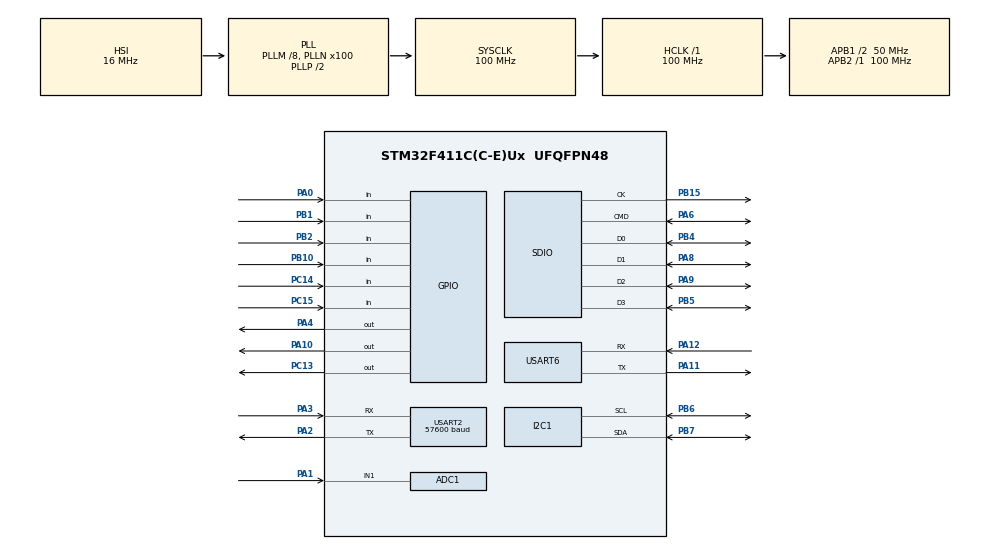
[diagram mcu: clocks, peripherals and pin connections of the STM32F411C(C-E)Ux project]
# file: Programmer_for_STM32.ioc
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ADC1.Channel-0\#ChannelRegularConversion=ADC_CHANNEL_1
ADC1.ClockPrescaler=ADC_CLOCK_SYNC_PCLK_DIV8
ADC1.EnableAnalogWatchDog=false
ADC1.ExternalTrigConv=ADC_EXTERNALTRIGCONV_T2_TRGO
ADC1.ExternalTrigConvEdge=ADC_EXTERNALTRIGCONVEDGE_RISING
ADC1.NbrOfConversionFlag=1
ADC1.Rank-0\#ChannelRegularConversion=1
ADC1.SamplingTime-0\#ChannelRegularConversion=ADC_SAMPLETIME_84CYCLES
ADC1.master=1
Dma.Request0=SDIO_RX
Dma.Request1=SDIO_TX
Dma.Request2=USART6_RX
Dma.SDIO_RX.0.Direction=DMA_PERIPH_TO_MEMORY
Dma.SDIO_RX.0.FIFOMode=DMA_FIFOMODE_ENABLE
Dma.SDIO_RX.0.FIFOThreshold=DMA_FIFO_THRESHOLD_FULL
Dma.SDIO_RX.0.Instance=DMA2_Stream3
Dma.SDIO_RX.0.MemBurst=DMA_MBURST_INC4
Dma.SDIO_RX.0.MemDataAlignment=DMA_MDATAALIGN_WORD
Dma.SDIO_RX.0.MemInc=DMA_MINC_ENABLE
Dma.SDIO_RX.0.Mode=DMA_PFCTRL
Dma.SDIO_RX.0.PeriphBurst=DMA_PBURST_INC4
Dma.SDIO_RX.0.PeriphDataAlignment=DMA_PDATAALIGN_WORD
Dma.SDIO_RX.0.PeriphInc=DMA_PINC_DISABLE
Dma.SDIO_RX.0.Priority=DMA_PRIORITY_HIGH
Dma.SDIO_TX.1.Direction=DMA_MEMORY_TO_PERIPH
Dma.SDIO_TX.1.FIFOMode=DMA_FIFOMODE_ENABLE
Dma.SDIO_TX.1.FIFOThreshold=DMA_FIFO_THRESHOLD_FULL
Dma.SDIO_TX.1.Instance=DMA2_Stream6
Dma.SDIO_TX.1.MemBurst=DMA_MBURST_INC4
Dma.SDIO_TX.1.MemDataAlignment=DMA_MDATAALIGN_WORD
Dma.SDIO_TX.1.MemInc=DMA_MINC_ENABLE
Dma.SDIO_TX.1.Mode=DMA_PFCTRL
Dma.SDIO_TX.1.PeriphBurst=DMA_PBURST_INC4
Dma.SDIO_TX.1.PeriphDataAlignment=DMA_PDATAALIGN_WORD
Dma.SDIO_TX.1.PeriphInc=DMA_PINC_DISABLE
Dma.SDIO_TX.1.Priority=DMA_PRIORITY_HIGH
Dma.USART6_RX.2.Direction=DMA_PERIPH_TO_MEMORY
Dma.USART6_RX.2.FIFOMode=DMA_FIFOMODE_DISABLE
Dma.USART6_RX.2.Instance=DMA2_Stream1
Dma.USART6_RX.2.MemDataAlignment=DMA_MDATAALIGN_BYTE
Dma.USART6_RX.2.MemInc=DMA_MINC_ENABLE
Dma.USART6_RX.2.Mode=DMA_CIRCULAR
Dma.USART6_RX.2.PeriphDataAlignment=DMA_PDATAALIGN_BYTE
Dma.USART6_RX.2.PeriphInc=DMA_PINC_DISABLE
Dma.USART6_RX.2.Priority=DMA_PRIORITY_VERY_HIGH
FATFS._FS_RPATH=2
FATFS._MAX_SS=4096
FATFS._USE_LFN=3
FREERTOS.BinarySemaphores01=semRingBuf,Dynamic,NULL
FREERTOS.Queues01=buttonsQueue,8,uint8_t,0,Dynamic,NULL,NULL
FREERTOS.Tasks01=defaultTask,0,384,StartDefaultTask,Default,NULL,Dynamic,NULL,NULL;keyboardTask,0,128,keyboardFunc,Default,NULL,Dynamic,NULL,NULL;displayTask,-1,256,displayFunc,Default,NULL,Dynamic,NULL,NULL;ringBufferTask,2,256,ringBufferFunc,Default,NULL,Dynamic,NULL,NULL
FREERTOS.configTOTAL_HEAP_SIZE=0x1770
FREERTOS.configUSE_STATS_FORMATTING_FUNCTIONS=1
FREERTOS.configUSE_TRACE_FACILITY=1
Mcu.Family=STM32F4
Mcu.Name=STM32F411C(C-E)Ux
Mcu.Package=UFQFPN48
NVIC.ADC_IRQn=true\:5\:0\:false\:false\:true\:true\:true\:true
NVIC.DMA2_Stream1_IRQn=true\:5\:0\:false\:false\:true\:true\:false\:true
NVIC.DMA2_Stream3_IRQn=true\:5\:0\:false\:false\:true\:true\:false\:true
NVIC.DMA2_Stream6_IRQn=true\:5\:0\:false\:false\:true\:true\:false\:true
NVIC.PriorityGroup=NVIC_PRIORITYGROUP_4
NVIC.SDIO_IRQn=true\:5\:0\:false\:false\:true\:true\:true\:true
NVIC.TIM1_UP_TIM10_IRQn=true\:0\:0\:false\:false\:true\:false\:false\:true
NVIC.TIM3_IRQn=true\:5\:0\:false\:false\:true\:true\:true\:true
NVIC.TimeBase=TIM1_UP_TIM10_IRQn
NVIC.TimeBaseIP=TIM1
NVIC.USART2_IRQn=true\:5\:0\:false\:false\:true\:true\:true\:true
NVIC.USART6_IRQn=true\:5\:0\:false\:false\:true\:true\:true\:true
PA0-WKUP.GPIO_PuPd=GPIO_PULLDOWN
PA0-WKUP.Signal=GPIO_Input
PA1.Signal=ADCx_IN1
PA10.GPIO_PuPd=GPIO_PULLUP
PA10.PinState=GPIO_PIN_SET
PA10.Signal=GPIO_Output
PA11.Mode=Asynchronous
PA11.Signal=USART6_TX
PA12.Mode=Asynchronous
PA12.Signal=USART6_RX
PA13.Mode=Trace_Asynchronous_SW
PA13.Signal=SYS_JTMS-SWDIO
PA14.Mode=Trace_Asynchronous_SW
PA14.Signal=SYS_JTCK-SWCLK
PA2.GPIO_PuPd=GPIO_PULLUP
PA2.Mode=Asynchronous
PA2.Signal=USART2_TX
PA3.GPIO_PuPd=GPIO_PULLUP
PA3.Mode=Asynchronous
PA3.Signal=USART2_RX
PA4.GPIO_ModeDefaultOutputPP=GPIO_MODE_OUTPUT_OD
PA4.PinState=GPIO_PIN_SET
PA4.Signal=GPIO_Output
PA6.GPIO_PuPd=GPIO_PULLUP
PA6.Mode=SD_4_bits_Wide_bus
PA6.Signal=SDIO_CMD
PA8.GPIO_PuPd=GPIO_PULLUP
PA8.Mode=SD_4_bits_Wide_bus
PA8.Signal=SDIO_D1
PA9.GPIO_PuPd=GPIO_PULLUP
PA9.Mode=SD_4_bits_Wide_bus
PA9.Signal=SDIO_D2
PB1.GPIO_PuPd=GPIO_PULLDOWN
PB1.Signal=GPIO_Input
PB10.GPIO_PuPd=GPIO_PULLDOWN
PB10.Signal=GPIO_Input
PB15.GPIO_PuPd=GPIO_PULLUP
PB15.Mode=SD_4_bits_Wide_bus
PB15.Signal=SDIO_CK
PB2.GPIO_PuPd=GPIO_PULLDOWN
PB2.Signal=GPIO_Input
PB3.Mode=Trace_Asynchronous_SW
PB3.Signal=SYS_JTDO-SWO
PB4.GPIO_PuPd=GPIO_PULLUP
PB4.Mode=SD_4_bits_Wide_bus
PB4.Signal=SDIO_D0
PB5.GPIO_PuPd=GPIO_PULLUP
PB5.Mode=SD_4_bits_Wide_bus
PB5.Signal=SDIO_D3
PB6.Mode=I2C
PB6.Signal=I2C1_SCL
PB7.Mode=I2C
PB7.Signal=I2C1_SDA
PC13-ANTI_TAMP.PinState=GPIO_PIN_SET
PC13-ANTI_TAMP.Signal=GPIO_Output
PC14-OSC32_IN.GPIO_PuPd=GPIO_PULLDOWN
PC14-OSC32_IN.Signal=GPIO_Input
PC15-OSC32_OUT.GPIO_PuPd=GPIO_PULLDOWN
PC15-OSC32_OUT.Signal=GPIO_Input
PH0\ -\ OSC_IN.Mode=HSE-External-Oscillator
PH0\ -\ OSC_IN.Signal=RCC_OSC_IN
PH1\ -\ OSC_OUT.Mode=HSE-External-Oscillator
PH1\ -\ OSC_OUT.Signal=RCC_OSC_OUT
ProjectManager.HeapSize=0x3000
ProjectManager.StackSize=0x3000
ProjectManager.TargetToolchain=MDK-ARM V5.27
RCC.48MHZClocksFreq_Value=40000000
RCC.AHBFreq_Value=100000000
RCC.APB1CLKDivider=RCC_HCLK_DIV2
RCC.APB1Freq_Value=50000000
RCC.APB1TimFreq_Value=100000000
RCC.APB2Freq_Value=100000000
RCC.APB2TimFreq_Value=100000000
RCC.CortexFreq_Value=100000000
RCC.HCLKFreq_Value=100000000
RCC.HSE_VALUE=25000000
RCC.HSI_VALUE=16000000
RCC.LSE_VALUE=32768
RCC.PLLM=8
RCC.PLLN=100
RCC.PLLQ=5
RCC.SYSCLKFreq_VALUE=100000000
RCC.SYSCLKSource=RCC_SYSCLKSOURCE_PLLCLK
RCC.VCOOutputFreq_Value=200000000
SDIO.ClockDiv=8
SDIO.HardwareFlowControl=SDIO_HARDWARE_FLOW_CONTROL_ENABLE
SH.ADCx_IN1.0=ADC1_IN1,IN1
TIM2.Period=20000
TIM2.Prescaler=10000
TIM2.TIM_MasterOutputTrigger=TIM_TRGO_UPDATE
TIM3.Period=1999-1
TIM3.Prescaler=50000-1
TIM3.TIM_MasterOutputTrigger=TIM_TRGO_UPDATE
USART2.BaudRate=57600
USART2.Parity=PARITY_EVEN
USART2.VirtualMode=VM_ASYNC
USART2.WordLength=WORDLENGTH_9B
USART6.VirtualMode=VM_ASYNC
VP_FATFS_VS_SDIO.Mode=SDIO
VP_FREERTOS_VS_CMSIS_V1.Mode=CMSIS_V1
VP_SYS_VS_tim1.Mode=TIM1
VP_TIM2_VS_ClockSourceINT.Mode=Internal
VP_TIM3_VS_ClockSourceINT.Mode=Internal
board=custom

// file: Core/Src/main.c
/* USER CODE BEGIN Header */
/**
  ******************************************************************************
  * @file           : main.c
  * @brief          : Main program body
  ******************************************************************************
  * @attention
  *
  * <h2><center>&copy; Copyright (c) 2021 STMicroelectronics.
  * All rights reserved.</center></h2>
  *
  * This software component is licensed by ST under Ultimate Liberty license
  * SLA0044, the "License"; You may not use this file except in compliance with
  * the License. You may obtain a copy of the License at:
  *                             www.st.com/SLA0044
  *
  ******************************************************************************
  */
/* USER CODE END Header */
#include "main.h"
#include "cmsis_os.h"
#include "adc.h"
#include "dma.h"
#include "fatfs.h"
#include "i2c.h"
#include "sdio.h"
#include "tim.h"
#include "usart.h"
#include "gpio.h"

/* USER CODE BEGIN Includes */
#include "ringBuffer.h"
/* USER CODE END Includes */

/* USER CODE BEGIN PV */
uint32_t batteryVoltage;
/* USER CODE END PV */

void SystemClock_Config(void);
void MX_FREERTOS_Init(void);

int main(void)
{

  /* MCU Configuration--------------------------------------------------------*/

  /* Reset of all peripherals, Initializes the Flash interface and the Systick. */
  HAL_Init();

  /* Configure the system clock */
  SystemClock_Config();

  /* Initialize all configured peripherals */
  MX_GPIO_Init();
  MX_DMA_Init();
  MX_SDIO_SD_Init();
  MX_USART2_UART_Init();
  MX_USART6_UART_Init();
  MX_I2C1_Init();
  MX_FATFS_Init();
  MX_TIM3_Init();
  MX_ADC1_Init();
  MX_TIM2_Init();
  /* USER CODE BEGIN 2 */
__HAL_UART_ENABLE_IT(&huart6,UART_IT_IDLE);

HAL_TIM_Base_Start_IT(&htim3);

HAL_UART_Receive_DMA(&huart6, (uint8_t *)g_receiveBuffer.arr, (uint16_t)REC_BUF_SIZE);

HAL_TIM_Base_Start(&htim2);

HAL_ADC_Start_IT(&hadc1);

HAL_GPIO_WritePin(GPIOA, GPIO_PIN_10, GPIO_PIN_SET);
HAL_Delay(100);

HAL_GPIO_WritePin(GPIOA, GPIO_PIN_10, GPIO_PIN_RESET);

//SCB->SHCSR |= SCB_SHCSR_USGFAULTENA_Msk | SCB_SHCSR_BUSFAULTENA_Msk | SCB_SHCSR_MEMFAULTENA_Msk; // !!! Отладка

//SCnSCB->ACTLR |= SCnSCB_ACTLR_DISDEFWBUF_Msk; // !!! Отладка

#ifdef DEBUG

EventRecorderInitialize (EventRecordAll, 1);
#endif /* DEBUG */
  /* USER CODE END 2 */

  /* Call init function for freertos objects (in freertos.c) */
  MX_FREERTOS_Init();
  /* Start scheduler */
  osKernelStart();

  /* We should never get here as control is now taken by the scheduler */
  /* Infinite loop */
  while (1)
  {

  }
}

void SystemClock_Config(void)
{
  RCC_OscInitTypeDef RCC_OscInitStruct = {0};
  RCC_ClkInitTypeDef RCC_ClkInitStruct = {0};

  /** Configure the main internal regulator output voltage
  */
  __HAL_RCC_PWR_CLK_ENABLE();
  __HAL_PWR_VOLTAGESCALING_CONFIG(PWR_REGULATOR_VOLTAGE_SCALE1);
  /** Initializes the RCC Oscillators according to the specified parameters
  * in the RCC_OscInitTypeDef structure.
  */
  RCC_OscInitStruct.OscillatorType = RCC_OSCILLATORTYPE_HSI;
  RCC_OscInitStruct.HSIState = RCC_HSI_ON;
  RCC_OscInitStruct.HSICalibrationValue = RCC_HSICALIBRATION_DEFAULT;
  RCC_OscInitStruct.PLL.PLLState = RCC_PLL_ON;
  RCC_OscInitStruct.PLL.PLLSource = RCC_PLLSOURCE_HSI;
  RCC_OscInitStruct.PLL.PLLM = 8;
  RCC_OscInitStruct.PLL.PLLN = 100;
  RCC_OscInitStruct.PLL.PLLP = RCC_PLLP_DIV2;
  RCC_OscInitStruct.PLL.PLLQ = 5;
  if (HAL_RCC_OscConfig(&RCC_OscInitStruct) != HAL_OK)
  {
    Error_Handler();
  }
  /** Initializes the CPU, AHB and APB buses clocks
  */
  RCC_ClkInitStruct.ClockType = RCC_CLOCKTYPE_HCLK|RCC_CLOCKTYPE_SYSCLK
                              |RCC_CLOCKTYPE_PCLK1|RCC_CLOCKTYPE_PCLK2;
  RCC_ClkInitStruct.SYSCLKSource = RCC_SYSCLKSOURCE_PLLCLK;
  RCC_ClkInitStruct.AHBCLKDivider = RCC_SYSCLK_DIV1;
  RCC_ClkInitStruct.APB1CLKDivider = RCC_HCLK_DIV2;
  RCC_ClkInitStruct.APB2CLKDivider = RCC_HCLK_DIV1;

  if (HAL_RCC_ClockConfig(&RCC_ClkInitStruct, FLASH_LATENCY_3) != HAL_OK)
  {
    Error_Handler();
  }
}

 /**
  * @brief  Period elapsed callback in non blocking mode
  * @note   This function is called  when TIM1 interrupt took place, inside
  * HAL_TIM_IRQHandler(). It makes a direct call to HAL_IncTick() to increment
  * a global variable "uwTick" used as application time base.
  * @param  htim : TIM handle
  * @retval None
  */
void HAL_TIM_PeriodElapsedCallback(TIM_HandleTypeDef *htim)
{
  if (htim->Instance == TIM1) {
    HAL_IncTick();
  }
}

void Error_Handler(void)
{
  __disable_irq();
  while (1)
  {
  }
}

/************************ (C) COPYRIGHT STMicroelectronics *****END OF FILE****/

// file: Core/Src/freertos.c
/* USER CODE BEGIN Header */
/**
  ******************************************************************************
  * File Name          : freertos.c
  * Description        : Code for freertos applications
  ******************************************************************************
  * @attention
  *
  * <h2><center>&copy; Copyright (c) 2021 STMicroelectronics.
  * All rights reserved.</center></h2>
  *
  * This software component is licensed by ST under Ultimate Liberty license
  * SLA0044, the "License"; You may not use this file except in compliance with
  * the License. You may obtain a copy of the License at:
  *                             www.st.com/SLA0044
  *
  ******************************************************************************
  */
/* USER CODE END Header */

#include "FreeRTOS.h"
#include "task.h"
#include "main.h"
#include "cmsis_os.h"

/* USER CODE BEGIN Includes */
#include "stdio.h"
#include "string.h"
#include "fatfs.h"//тест
#include "ssd1306.h"
#include "make_menu.h"
#include "scanningButtons.h"
#include "esp8266_lib.h"
#include "ringBuffer.h"
#include "storingSettings.h"

#ifdef DEBUG_INIT_EVENT_RECORDER
#include "EventRecorder.h" //отладка
#endif /* DEBUG_INIT_EVENT_RECORDER */
/* USER CODE END Includes */

/* USER CODE BEGIN Variables */
static SB_Keyboard_t controlKeyboard  = {KEY_ENTER, KEY_UP, KEY_RIGHT, KEY_FUNCTION, KEY_LEFT, KEY_DOWN};
static SB_Key_t buttonIsPressed;
static volatile uint16_t filledBufferSpace =0;

struct
{
  uint64_t size;
  uint64_t uploadedData;
} g_fileToTransfer = {0,0};

char vTaskList_data [1024];//отладка
size_t HeapSize =0; //отладка
/* USER CODE END Variables */
osThreadId defaultTaskHandle;
osThreadId keyboardTaskHandle;
osThreadId displayTaskHandle;
osThreadId ringBufferTaskHandle;
osMessageQId buttonsQueueHandle;
osSemaphoreId semRingBufHandle;

void StartDefaultTask(void const * argument);
void keyboardFunc(void const * argument);
void displayFunc(void const * argument);
void ringBufferFunc(void const * argument);

void MX_FREERTOS_Init(void); /* (MISRA C 2004 rule 8.1) */

/* GetIdleTaskMemory prototype (linked to static allocation support) */
void vApplicationGetIdleTaskMemory( StaticTask_t **ppxIdleTaskTCBBuffer, StackType_t **ppxIdleTaskStackBuffer, uint32_t *pulIdleTaskStackSize );

/* USER CODE BEGIN GET_IDLE_TASK_MEMORY */
static StaticTask_t xIdleTaskTCBBuffer;
static StackType_t xIdleStack[configMINIMAL_STACK_SIZE];

void vApplicationGetIdleTaskMemory( StaticTask_t **ppxIdleTaskTCBBuffer, StackType_t **ppxIdleTaskStackBuffer, uint32_t *pulIdleTaskStackSize )
{
  *ppxIdleTaskTCBBuffer = &xIdleTaskTCBBuffer;
  *ppxIdleTaskStackBuffer = &xIdleStack[0];
  *pulIdleTaskStackSize = configMINIMAL_STACK_SIZE;
  /* place for user code */
}
/* USER CODE END GET_IDLE_TASK_MEMORY */

void MX_FREERTOS_Init(void) {

  /* Create the semaphores(s) */
  /* definition and creation of semRingBuf */
  osSemaphoreDef(semRingBuf);
  semRingBufHandle = osSemaphoreCreate(osSemaphore(semRingBuf), 1);

  /* Create the queue(s) */
  /* definition and creation of buttonsQueue */
  osMessageQDef(buttonsQueue, 8, uint8_t);
  buttonsQueueHandle = osMessageCreate(osMessageQ(buttonsQueue), NULL);

  /* Create the thread(s) */
  /* definition and creation of defaultTask */
  osThreadDef(defaultTask, StartDefaultTask, osPriorityNormal, 0, 384);
  defaultTaskHandle = osThreadCreate(osThread(defaultTask), NULL);

  /* definition and creation of keyboardTask */
  osThreadDef(keyboardTask, keyboardFunc, osPriorityNormal, 0, 128);
  keyboardTaskHandle = osThreadCreate(osThread(keyboardTask), NULL);

  /* definition and creation of displayTask */
  osThreadDef(displayTask, displayFunc, osPriorityBelowNormal, 0, 256);
  displayTaskHandle = osThreadCreate(osThread(displayTask), NULL);

  /* definition and creation of ringBufferTask */
  osThreadDef(ringBufferTask, ringBufferFunc, osPriorityHigh, 0, 256);
  ringBufferTaskHandle = osThreadCreate(osThread(ringBufferTask), NULL);

}

void StartDefaultTask(void const * argument)
{
  /* USER CODE BEGIN StartDefaultTask */
	  selectedMenuItem = &Boot_MAIN;
  /* Infinite loop */
  for ( ;; )
    {
//отладка:
//uxSemaphoreGetCount( SemUART1toTaskCommHandle );
      vTaskList ( vTaskList_data );
      HeapSize = 	xPortGetFreeHeapSize();
      buttonIsPressed = KEYS_ARE_REALESED;
      // из очереди значение нажатой кнопки записывается в buttonIsPressed
      xQueueReceive ( buttonsQueueHandle, ( void * ) &buttonIsPressed, 0 );
      if ( g_currentWindow == TYPE_WINDOW_MENU )
        {
          switch ( buttonIsPressed )
            {
            case KEY_ENTER:
              if ( selectedMenuItem->Child!=&NULL_ENTRY )
                {
                  selectedMenuItem = selectedMenuItem->Child;
                }
              else
                {
                  selectedMenuItem  = selectedMenuItem->pfunc ( ( void* ) selectedMenuItem );
                }
              break;
            case KEY_UP:
              if ( selectedMenuItem->Previous!=&NULL_ENTRY )
                {
                  selectedMenuItem = selectedMenuItem->Previous;
                }
              break;
            case KEY_RIGHT:
              break;
            case KEY_FUNCTION:
              if ( selectedMenuItem->Parent!=&NULL_ENTRY )
                {
                  selectedMenuItem = selectedMenuItem->Parent;
                }
              break;
            case KEY_LEFT:
              break;
            case KEY_DOWN:
              if ( selectedMenuItem->Next!=&NULL_ENTRY )
                {
                  selectedMenuItem = selectedMenuItem->Next;
                }
              break;
            default:
              break;
            }
        }//END if (g_currentWindow == TYPE_WINDOW_MENU)
      else if ( g_currentWindow == TYPE_WINDOW_LIST )
        {
          switch ( buttonIsPressed )
            {
            case KEY_ENTER:
              if ( g_typeList == TYPE_LIST_FILES_SD )
                {
                  SD_OpenFolderOrSelectFile ( g_currentItemOfList );
                }
	              else if ( g_typeList == TYPE_LIST_FTP_SAVE_FOLDER )
                {
                SD_OpenFolderOrSelectFile ( g_currentItemOfList );
                }
              else if ( g_typeList == TYPE_LIST_FIRMWARE )
                {
                  SD_OpenFolderOrSelectFile ( g_currentItemOfList );
                }
              else if ( g_typeList == TYPE_LIST_NETWORKS )
                {
                  ESP8266_ConnectViaWifi ( g_currentItemOfList );
                }
              else if ( g_typeList == TYPE_LIST_FILES_FTP )
                {
                  ESP8266_OpenFolderOrSelectFileFTP ( g_currentItemOfList );
                }
              else if ( g_typeList == TYPE_LIST_SERVERS_FTP )
                {
                  FTP_SelectFtpServer();
                  ESP8266_ShowListOfFiles();
                }
              break;
            case KEY_UP:
              if ( g_currentItemOfList>0 )
                {
                  g_currentItemOfList--;
                }
              break;
            case KEY_RIGHT:
              if ( g_typeList == TYPE_LIST_NETWORKS )
                {
                  ESP8266_EnterPasswordForNetwork ( g_rowOfListForScreen[g_currentItemOfList] );
                }
              else if ( g_typeList == TYPE_LIST_SERVERS_FTP )
                {
                  FTP_SelectFtpServer();
                  selectedMenuItem = &Adsress_NewFTP;
                  g_currentItemOfList =0;
                  DISPLAY_GoToSpecifiedWindow ( TYPE_WINDOW_MENU );
                }
								 else  if ( g_typeList == TYPE_LIST_FILES_SD )
                {
                  SD_EnterNameNewFolder();
                }
								else  if ( g_typeList == TYPE_LIST_FTP_SAVE_FOLDER )
                {
									// сюда
                  SD_SelectFolderForFtpServer(g_currentItemOfList);
                }

              break;
            case KEY_FUNCTION:
              if ( g_typeList == TYPE_LIST_FILES_SD )
                {
                  SD_GoToParentDirectory();
                }
						else if ( g_typeList == TYPE_LIST_FTP_SAVE_FOLDER )
                {
									SD_GoToParentDirectory();
                }
								else if ( g_typeList == TYPE_LIST_FIRMWARE )
                {
									SD_GoToParentDirectory();
                }
              else if ( g_typeList == TYPE_LIST_NETWORKS )
                {
                  g_currentItemOfList =0;
                  DISPLAY_GoToSpecifiedWindow ( TYPE_WINDOW_MENU );
                }
              else if ( g_typeList == TYPE_LIST_FILES_FTP )
                {
                  ESP8266_GoToParentDirectoryFTP();
                }
              else if ( g_typeList == TYPE_LIST_SERVERS_FTP )
                {
                  g_currentItemOfList =0;
                  DISPLAY_GoToSpecifiedWindow ( TYPE_WINDOW_MENU );
                }
              break;
            case KEY_LEFT:
						if ( g_typeList == TYPE_LIST_FILES_SD )
                {
                  SD_ConfirmationDeleting(g_rowOfListForScreen[g_currentItemOfList] );
                }

              break;
            case KEY_DOWN:
              if ( g_currentItemOfList<g_numberOfListItemsForShow-1 )
                {
                  g_currentItemOfList++;
                }
              break;
            default:
              break;
            }
        }//END else if(g_currentWindow == TYPE_WINDOW_LIST)
      else if ( g_currentWindow == TYPE_WINDOW_INFO )
        {
          switch ( buttonIsPressed )
            {
            case KEY_ENTER:
              DISPLAY_GoToSpecifiedWindow ( g_previousWindow );
              break;
            case KEY_UP:
              break;
            case KEY_RIGHT:
              break;
            case KEY_FUNCTION:
              DISPLAY_GoToSpecifiedWindow ( TYPE_WINDOW_MENU );
              break;
            case KEY_LEFT:
              break;
            case KEY_DOWN:
              break;
            default:
              break;
            }
        }//END else if(g_currentWindow == TYPE_WINDOW_INFO)
				      else if ( g_currentWindow == TYPE_WINDOW_CONFIRM )
        {
          switch ( buttonIsPressed )
            {
            case KEY_ENTER:
              DISPLAY_GoToSpecifiedWindow ( g_previousWindow );
              break;
            case KEY_UP:
              break;
            case KEY_RIGHT:
							g_pressR(g_rowOfListForScreen[g_currentItemOfList]);
              break;
            case KEY_FUNCTION:
              DISPLAY_GoToSpecifiedWindow ( TYPE_WINDOW_MENU );
              break;
            case KEY_LEFT:
              break;
            case KEY_DOWN:
              break;
            default:
              break;
            }
        }//END else if(g_currentWindow == TYPE_WINDOW_CONFIRM)
      else if ( g_currentWindow == TYPE_WINDOW_KEYBOARD )
        {
          switch ( buttonIsPressed )
            {
            case KEY_ENTER:
              DISPLAY_AddCharToInputField();
              break;
            case KEY_UP:
              DISPLAY_SelectTheCharacterToTheUp();
              break;
            case KEY_RIGHT:
              DISPLAY_SelectTheCharacterToTheRight();
              break;
            case KEY_FUNCTION:
              DISPLAY_SwitchKeyboardLayout();
              break;
            case KEY_LEFT:
              DISPLAY_SelectTheCharacterToTheLeft();
              break;
            case KEY_DOWN:
              DISPLAY_SelectTheCharacterToTheDown();
              break;
            default:
              break;
            }
        }//END else if(g_currentWindow == TYPE_WINDOW_KEYBOARD)
      osDelay ( 30 );
    }
  /* USER CODE END StartDefaultTask */
}

void keyboardFunc(void const * argument)
{
  /* USER CODE BEGIN keyboardFunc */
  /* Infinite loop */
  for ( ;; )
    {

			if ( SB_ScanningButton ( &buttonFunction, HAL_GPIO_ReadPin ( GPIOB, GPIO_PIN_1 ) ) )
        {
          xQueueSendToBack ( buttonsQueueHandle, ( void * ) &controlKeyboard.keyFunction, 100 );
        }
			  osDelay ( 2 );
      if ( SB_ScanningButton ( &buttonUp, HAL_GPIO_ReadPin ( GPIOA, GPIO_PIN_0 ) ) )
        {
          xQueueSendToBack ( buttonsQueueHandle, ( void * ) &controlKeyboard.keyUp, 100 );
        }
      osDelay ( 2 );
			if ( SB_ScanningButton ( &buttonEnter, HAL_GPIO_ReadPin ( GPIOC, GPIO_PIN_14 ) ) )
        {
          xQueueSendToBack ( buttonsQueueHandle, ( void * ) &controlKeyboard.keyEnter, 100 );
        }
			osDelay ( 2 );
				 if ( SB_ScanningButton ( &buttonRight, HAL_GPIO_ReadPin ( GPIOB, GPIO_PIN_10 ) ) )
        {
          xQueueSendToBack ( buttonsQueueHandle, ( void * ) &controlKeyboard.keyRight, 100 );
        }
      osDelay ( 2 );
      if ( SB_ScanningButton ( &buttonDown, HAL_GPIO_ReadPin ( GPIOC, GPIO_PIN_15 ) ) )
        {
          xQueueSendToBack ( buttonsQueueHandle, ( void * ) &controlKeyboard.keyDown, 100 );
        }
      osDelay ( 2 );
      if ( SB_ScanningButton ( &buttonLeft, HAL_GPIO_ReadPin ( GPIOB, GPIO_PIN_2 ) ) )
        {
          xQueueSendToBack ( buttonsQueueHandle, ( void * ) &controlKeyboard.keyLeft, 100 );
        }
			osDelay ( 2 );
    }
  /* USER CODE END keyboardFunc */
}

void displayFunc(void const * argument)
{
  /* USER CODE BEGIN displayFunc */
  if ( ssd1306_Init() )
    {
      DISPLAY_PrintString ( 0, 0, "Display OK" );
    }
  else
    {
      while ( 1 )
        {
          HAL_GPIO_TogglePin ( GPIOA, GPIO_PIN_13 );
          osDelay ( 1000 );
        }
    }
  if ( SD_InitCard() )
    {
      DISPLAY_PrintString ( 0, 10, "SDCard ERROR" );
      osDelay ( 10000 );
    }
  else
    {
      DISPLAY_PrintString ( 0, 10, "SDCard OK" );
    }
//if (ESP8266_Init()){
  if ( 0 )
    {
      DISPLAY_PrintString ( 0, 20, "WI-FI ERROR" );
      osDelay ( 10000 );
    }
  else
    {
      STORING_CheckFirstConnection(); //зачем?
      DISPLAY_PrintString ( 0, 20, "WI-FI OK " );
    }
  osDelay ( 2000 );
  DISPLAY_GoToSpecifiedWindow ( TYPE_WINDOW_MENU );
  /* Infinite loop */
  for ( ;; )
    {
      ssd1306_Fill ( Black );
//ssd1306_SetCursor(0, 0);
      if ( g_currentWindow == TYPE_WINDOW_MENU )
        {
          DISPLAY_ShowMenu ( selectedMenuItem );
        }
      else if ( g_currentWindow == TYPE_WINDOW_LIST )
        {
          DISPLAY_ShowList();

					if(g_typeList == TYPE_LIST_NETWORKS){
          DISPLAY_ShowAdditionalNetworkInformation();
					}
					else if(g_typeList == TYPE_LIST_FILES_FTP || g_typeList == TYPE_LIST_FILES_SD || g_typeList == TYPE_LIST_FIRMWARE || g_typeList ==TYPE_LIST_FTP_SAVE_FOLDER ){
					DISPLAY_ShowAdditionalFileInformation();

					}
        }
      else if ( g_currentWindow == TYPE_WINDOW_INFO || g_currentWindow == TYPE_WINDOW_UPLOADING ||g_currentWindow == TYPE_WINDOW_CONFIRM)
        {
          DISPLAY_ShowInfo ( SSD1306_WIDTH_7_FONT );
        }
      else if ( g_currentWindow == TYPE_WINDOW_WAITING )
        {
          DISPLAY_ShowWaiting();
        }
				 else if ( g_currentWindow == TYPE_WINDOW_DOWNLOADING )
        {
          DISPLAY_ShowLoading();
        }
      else if ( g_currentWindow == TYPE_WINDOW_KEYBOARD )
        {
          DISPLAY_ShowKeyboard();
        }
      ssd1306_UpdateScreen();
      osDelay ( 100 );
    }
  /* USER CODE END displayFunc */
}

void ringBufferFunc(void const * argument)
{
  /* USER CODE BEGIN ringBufferFunc */
  xSemaphoreTake ( semRingBufHandle, 100 ); // сбрасываем созданый семафор
  /* Infinite loop */
  for ( ;; )
    {
      xSemaphoreTake ( semRingBufHandle, portMAX_DELAY  );
      //DMA1_Stream1->NDTR - это свободное место в буфере, изначально равно размеру буфера, после получения данных уменьшается
      filledBufferSpace = ( REC_BUF_SIZE-DMA2_Stream1->NDTR ); //Заполненное место в буфере. Разница между длиной буфера и головой данных. начальное значение рано 0
      while ( g_receiveBuffer.tail != filledBufferSpace )
        {
          switch ( g_dataTypeRingBuf )
            {
            case RB_DATA_TYPE_FILE_SIZE:
            {
#ifdef DEBUG
              EventRecord2 ( 0xFF, 0x01, 0 );
#endif /* DEBUG */
              // в этой функции так же меняется  g_receiveBuffer.tail
              RB_AnswerSize_t sizeAnswer = RB_GetSizeOfMessage ( g_receiveBuffer.tail, filledBufferSpace );
              g_fileToTransfer.size = sizeAnswer.sizeOfMessage;
              g_receiveBuffer.tail = sizeAnswer.tail;
              g_fileToTransfer.uploadedData =0;
              g_dataTypeRingBuf = g_dataTypeRingBufAfterSize;
              //g_answerESP8266 = ANSWER_OK;
              break;
            }
            case RB_DATA_TYPE_FILE:
#ifdef DEBUG
              EventRecord2 ( 0x02, g_receiveBuffer.tail, filledBufferSpace );
#endif /* DEBUG */

						while ( g_fileToTransfer.uploadedData!=g_fileToTransfer.size && g_receiveBuffer.tail!=filledBufferSpace )
						{
                  SD_WriteByteToFile ( ( void* ) &g_receiveBuffer.arr[g_receiveBuffer.tail] );
                  g_receiveBuffer.tail = ( g_receiveBuffer.tail==REC_BUF_LAST_ELEMENT ) ? 0: ( g_receiveBuffer.tail+1 );
                  g_fileToTransfer.uploadedData++;

//									sprintf (g_infoMessageArr, "%s%i", "Dowload ", (uint16_t)((g_fileToTransfer.uploadedData/g_fileToTransfer.size)*100) );
//									g_infoMessage = g_infoMessageArr;

									g_answerESP8266 = ANSWER_LOADING;
                }
#ifdef DEBUG
              EventRecord2 ( 0x03, g_receiveBuffer.tail, filledBufferSpace ); ///!!! отладка
#endif /* DEBUG */
              if ( g_fileToTransfer.uploadedData==g_fileToTransfer.size )
                {
#ifdef DEBUG
                  EventRecord2 ( 0xFF, 0x03, 0 ); ///!!! отладка
#endif /* DEBUG */
                  g_fileToTransfer.uploadedData =0;
                  g_fileToTransfer.size =0;
                  g_dataTypeRingBuf = RB_DATA_TYPE_UNNECESSARY;
                  g_answerESP8266 =ANSWER_OK;
                }
								else{
								g_answerESP8266 = ANSWER_WAITING;
								}

              break;
            case RB_DATA_TYPE_NETWORKS:
              while ( g_fileToTransfer.uploadedData!=g_fileToTransfer.size && g_receiveBuffer.tail!=filledBufferSpace )
                {
                  RB_WriteByteToScreenList ( &g_receiveBuffer.arr[g_receiveBuffer.tail] );
                  g_receiveBuffer.tail = ( g_receiveBuffer.tail==REC_BUF_LAST_ELEMENT ) ? 0: ( g_receiveBuffer.tail+1 );
                  g_fileToTransfer.uploadedData++;
                }
              if ( g_fileToTransfer.uploadedData==g_fileToTransfer.size )
                {
                  g_fileToTransfer.uploadedData =0;
                  g_fileToTransfer.size =0;
                  g_dataTypeRingBuf = RB_DATA_TYPE_UNNECESSARY;
                  g_answerESP8266 =ANSWER_OK;
                }
              break;
            case RB_DATA_TYPE_DIRECTORIES:
              // лист файлов и папок
              if ( g_fileToTransfer.size==2 )
                {
                  g_answerESP8266 =ANSWER_EMPTY;
                  g_fileToTransfer.uploadedData =0;
                  g_fileToTransfer.size =0;
                  g_dataTypeRingBuf = RB_DATA_TYPE_UNNECESSARY;
                  break;
                }
              while ( g_fileToTransfer.uploadedData!=g_fileToTransfer.size && g_receiveBuffer.tail!=filledBufferSpace )
                {
                  RB_WriteByteToScreenListAndFileInfo ( ( void* ) &g_receiveBuffer.arr[g_receiveBuffer.tail] );
                  g_receiveBuffer.tail = ( g_receiveBuffer.tail==REC_BUF_LAST_ELEMENT ) ? 0: ( g_receiveBuffer.tail+1 );
                  g_fileToTransfer.uploadedData++;
                }
              if ( g_fileToTransfer.uploadedData==g_fileToTransfer.size )
                {
                  g_fileToTransfer.uploadedData =0;
                  g_fileToTransfer.size =0;
                  g_dataTypeRingBuf = RB_DATA_TYPE_UNNECESSARY;
                  g_answerESP8266 =ANSWER_OK;
                }
              break;
            case RB_DATA_TYPE_MESSAGE:
              g_stringAnswer = RB_ConvertAnswerToString ( g_receiveBuffer.tail, filledBufferSpace );
              if ( g_stringAnswer.tail == g_receiveBuffer.tail )
                {
                  g_answerESP8266 =ANSWER_ERROR;
                  //значит  0x0D не найден, попробовать обновить filledBufferSpace и попробовать еще раз!!!
                }
              else if ( strcmp ( g_stringAnswer.string, "OK" ) ==0 ) //плохо!!! надо передавать строку дальше
                {
                  g_receiveBuffer.tail =g_stringAnswer.tail;
                  g_answerESP8266 =ANSWER_OK;
                }
              else
                {
                  g_receiveBuffer.tail = g_stringAnswer.tail;
                  g_answerESP8266 =ANSWER_MESSAGE;
                }
              // а если ответ ок, но конец сообщения не достигнут, то что????
              //где то должен быть переход на мусор!!!
              /*

              */
              break;
            default://пришли мусорные данные
              //g_receiveBuffer.tail =	filledBufferSpace;
              g_receiveBuffer.tail = ( g_receiveBuffer.tail == REC_BUF_LAST_ELEMENT ) ? 0 : ( g_receiveBuffer.tail+1 );
              break;
            }
//								if(g_receiveBuffer.tail != filledBufferSpace){
//								g_receiveBuffer.tail = (g_receiveBuffer.tail == REC_BUF_LAST_ELEMENT)? 0 : (g_receiveBuffer.tail+1);
//								}
        }//end while
      osDelay ( 1 );
    }
  /* USER CODE END ringBufferFunc */
}

/************************ (C) COPYRIGHT STMicroelectronics *****END OF FILE****/
